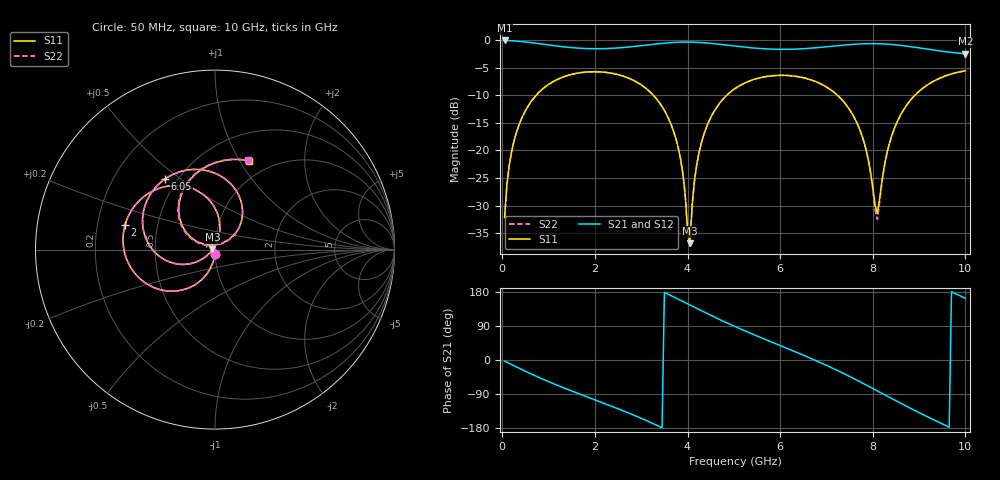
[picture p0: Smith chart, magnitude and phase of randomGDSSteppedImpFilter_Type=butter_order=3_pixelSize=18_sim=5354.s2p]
! freq	dB(S11)	phase(S11)	dB(S12)	phase(S12)
!  dB(S21)	phase(S21)	dB(S22)	phase(S22)
!S-par simulation data
#  GHz  S  DB  R 50
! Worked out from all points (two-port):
!   200 points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, 50 MHz to 10 GHz, reference 50 ohm
!   highest |S21| = -0.01 dB at 50 MHz (marker M1); lowest = -2.4 dB at 10 GHz (marker M2)
!   |S21| within 3 dB of the highest: start of sweep to end of sweep
!   lowest |S11| = -36.9 dB at 4.05 GHz (marker M3), VSWR 1.03, Z = 48.6 + j0.168 ohm
!   |S11| at or under -10 dB: start of sweep to 728.8 MHz; 3.265 GHz to 4.844 GHz (1.579 GHz wide, 38.9 % of centre); 7.241 GHz to 8.905 GHz (1.664 GHz wide, 20.6 % of centre)
!   |S22| runs from -37.4 to -5.5 dB; largest |S21 - S12| = 0
!   S11 on the Smith chart (normalised r, x): 50 MHz: 1.00, -0.05; 2 GHz: 0.32, +0.12; 6.05 GHz: 0.43, +0.44; 10 GHz: 0.80, +1.10
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0.05  -32.17 -93.1  -0.01 -3.1  -0.01 -3.1  -32.17 -93.1
0.2  -20.25 -102.5  -0.06 -12.1  -0.06 -12.1  -20.25 -102.5
0.5  -12.76 -120.3  -0.28 -29.8  -0.28 -29.8  -12.76 -120.3
1.05  -7.72 -150.2  -0.88 -59.7  -0.88 -59.7  -7.72 -150.2
1.75  -5.79 175.9  -1.45 -93.7  -1.45 -93.7  -5.79 175.9
2  -5.68 164.4  -1.51 -105.2  -1.51 -105.2  -5.68 164.4
2.75  -6.93 129.1  -1.18 -141.0  -1.18 -141.0  -6.93 129.0
3.4  -11.40 95.4  -0.57 -175.9  -0.57 -175.9  -11.40 95.3
3.8  -19.54 75.7  -0.33 160.4  -0.33 160.4  -19.54 75.2
3.9  -24.25 74.2  -0.31 154.3  -0.31 154.3  -24.27 73.3
4.05  -36.85 173.1  -0.31 145.2  -0.31 145.2  -37.38 174.8
4.15  -25.46 -143.9  -0.33 139.1  -0.33 139.1  -25.50 -142.7
4.3  -18.57 -146.0  -0.39 130.0  -0.39 130.0  -18.58 -145.4
5.05  -8.61 175.2  -1.05 86.9  -1.05 86.9  -8.61 175.4
6.05  -6.34 125.1  -1.62 35.6  -1.62 35.6  -6.34 125.3
6.7  -7.27 92.5  -1.39 2.2  -1.39 2.2  -7.27 92.6
7.65  -14.85 42.6  -0.68 -52.8  -0.68 -52.8  -14.86 42.1
7.9  -21.51 36.7  -0.59 -68.8  -0.59 -68.8  -21.59 35.1
8.1  -31.42 104.4  -0.60 -81.7  -0.60 -81.7  -32.54 105.7
8.35  -18.97 155.6  -0.70 -98.0  -0.70 -98.0  -19.05 157.8
9.15  -8.25 115.6  -1.54 -148.1  -1.54 -148.1  -8.26 116.7
10  -5.52 68.8  -2.42 162.9  -2.42 162.9  -5.52 69.9
